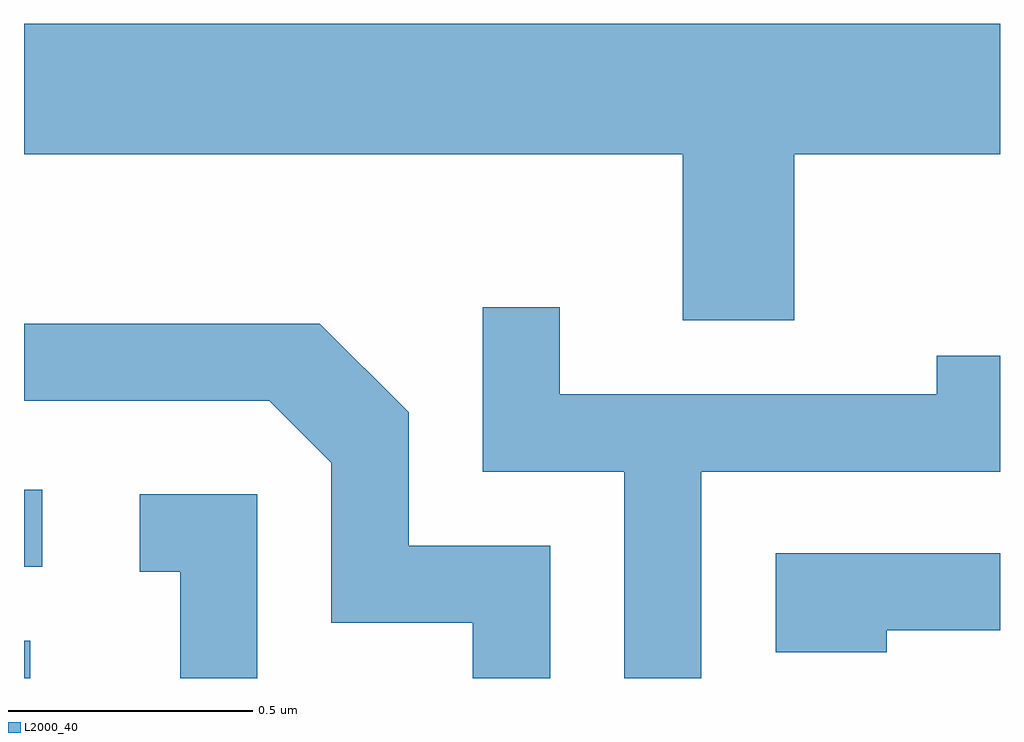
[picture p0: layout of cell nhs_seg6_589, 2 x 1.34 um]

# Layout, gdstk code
import gdstk
lib = gdstk.Library(unit=1e-6, precision=1e-09)
def R(c, l, rs):  # rectangles x0, y0, x1, y1
    for r in rs: c.add(gdstk.rectangle(r[:2], r[2:], *l))
def P(c, l, *ps):  # polygons
    for p in ps: c.add(gdstk.Polygon(p, *l))
L2000_40 = (2000, 40)

nhs_seg6_589 = lib.new_cell('nhs_seg6_589')
R(nhs_seg6_589, L2000_40, [(189.611,1571.162,189.624,1571.239), (189.611,1571.391,189.648,1571.549)])
P(nhs_seg6_589, L2000_40, [(191.189,1572.236),(191.611,1572.236),(191.611,1572.504),(189.611,1572.504),(189.611,1572.236),(190.961,1572.236),(190.961,1571.896),(191.189,1571.896)],
  [(190.999,1571.586),(191.611,1571.586),(191.611,1571.823),(191.481,1571.823),(191.481,1571.744),(190.709,1571.744),(190.709,1571.923),(190.551,1571.923),(190.551,1571.586),(190.841,1571.586),(190.841,1571.162),(190.999,1571.162)],
  [(190.689,1571.434),(190.399,1571.434),(190.399,1571.707),(190.217,1571.889),(189.611,1571.889),(189.611,1571.731),(190.114,1571.731),(190.241,1571.604),(190.241,1571.276),(190.531,1571.276),(190.531,1571.162),(190.689,1571.162)],
  [(190.089,1571.539),(189.848,1571.539),(189.848,1571.381),(189.931,1571.381),(189.931,1571.162),(190.089,1571.162)],
  [(191.379,1571.261),(191.611,1571.261),(191.611,1571.419),(191.151,1571.419),(191.151,1571.216),(191.379,1571.216)])

lib.write_gds('nhs_seg6_589.gds')
